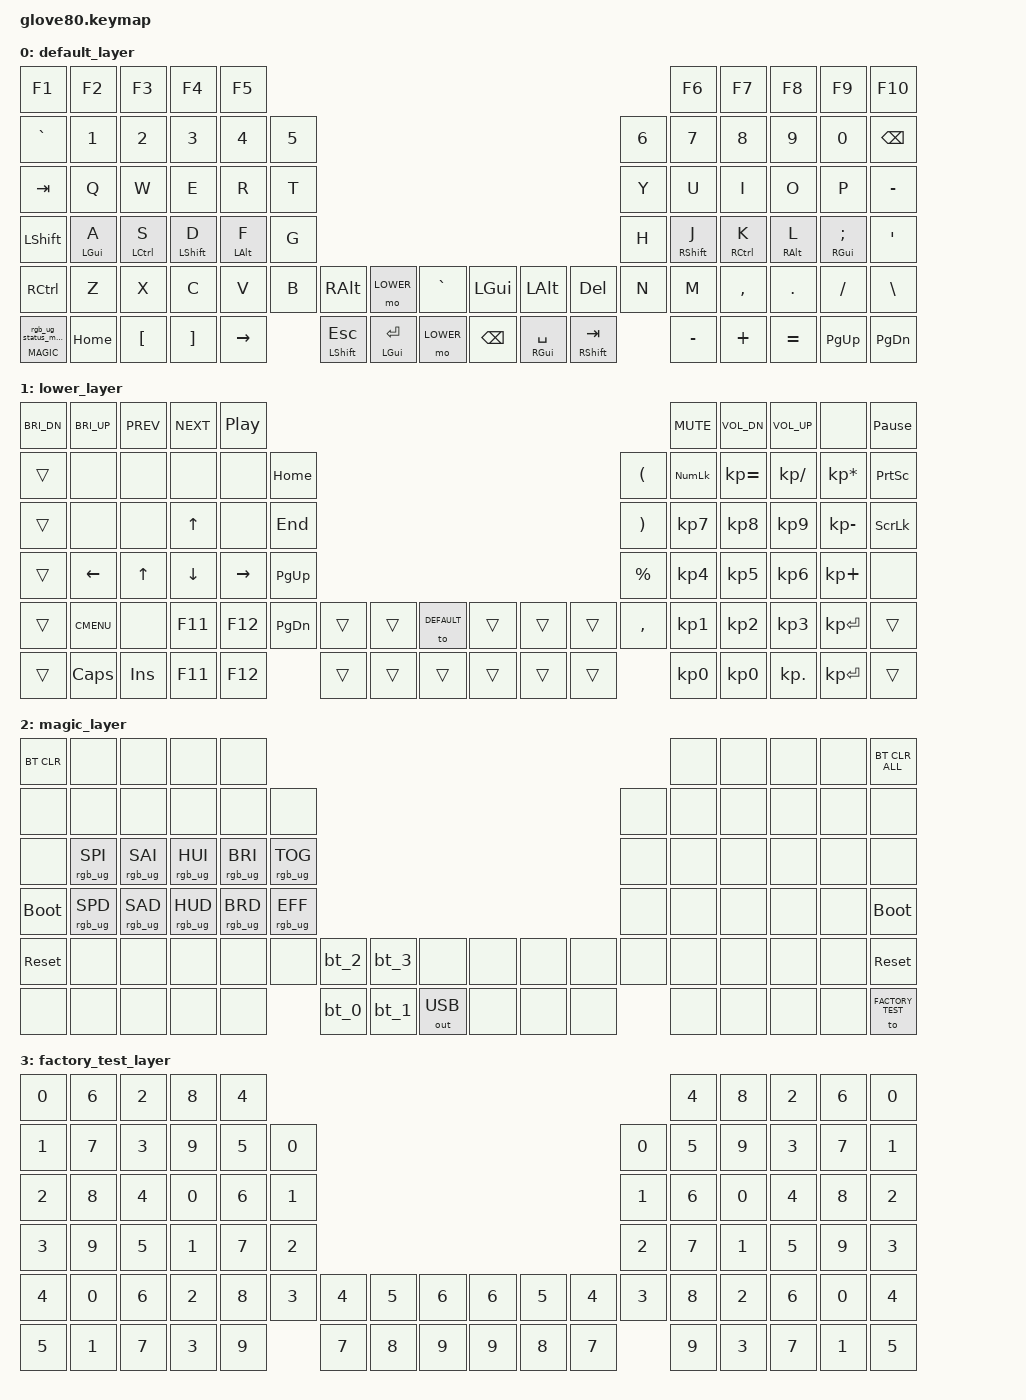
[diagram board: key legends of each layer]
/*
 * Copyright (c) 2020 The ZMK Contributors
 *
 * SPDX-License-Identifier: MIT
 */

#include <behaviors.dtsi>
#include <dt-bindings/zmk/keys.h>
#include <dt-bindings/zmk/bt.h>
#include <dt-bindings/zmk/ext_power.h>
#include <dt-bindings/zmk/outputs.h>
#include <dt-bindings/zmk/rgb.h>

#define HYPER LC(LS(LG(LALT)))

// layers
#define DEFAULT 0
#define LOWER 1
#define MAGIC 2
#define FACTORY_TEST 3

/ {
    behaviors {

        hrm: hrm_hold_tap {
            compatible = "zmk,behavior-hold-tap";
            label = "HRM";
            #binding-cells = <2>;
            flavor = "tap-preferred";
            tapping-term-ms = <250>;
            require-prior-idle-ms = <125>;
            bindings = <&kp>, <&kp>;
        };

        // For the "layer" key, it'd nice to be able to use it as either a shift or a toggle.
        // Configure it as a tap dance, so the first tap (or hold) is a &mo and the second tap is a &to
        layer_td: tap_dance_0 {
            compatible = "zmk,behavior-tap-dance";
            label = "LAYER_TAP_DANCE";
            #binding-cells = <0>;
            tapping-term-ms = <200>;
            bindings = <&mo LOWER>, <&to LOWER>;
        };

        magic: magic_hold_tap {
            compatible = "zmk,behavior-hold-tap";
            label = "MAGIC_HOLD_TAP";
            #binding-cells = <2>;
            flavor = "tap-preferred";
            tapping-term-ms = <200>;
            bindings = <&mo>, <&rgb_ug_status_macro>;
        };
    };

    macros {
        rgb_ug_status_macro: rgb_ug_status_macro_0 {
            label = "RGB_UG_STATUS";
            compatible = "zmk,behavior-macro";
            #binding-cells = <0>;
            bindings
                = <&rgb_ug RGB_STATUS>;
        };

        bt_0: bt_profile_macro_0 {
            label = "BT_0";
            compatible = "zmk,behavior-macro";
            #binding-cells = <0>;
            bindings
                = <&out OUT_BLE>,
                  <&bt BT_SEL 0>;
        };

        bt_1: bt_profile_macro_1 {
            label = "BT_1";
            compatible = "zmk,behavior-macro";
            #binding-cells = <0>;
            bindings
                = <&out OUT_BLE>,
                  <&bt BT_SEL 1>;
        };

        bt_2: bt_profile_macro_2 {
            label = "BT_2";
            compatible = "zmk,behavior-macro";
            #binding-cells = <0>;
            bindings
                = <&out OUT_BLE>,
                  <&bt BT_SEL 2>;
        };

        bt_3: bt_profile_macro_3 {
            label = "BT_3";
            compatible = "zmk,behavior-macro";
            #binding-cells = <0>;
            bindings
                = <&out OUT_BLE>,
                  <&bt BT_SEL 3>;
        };
    };

    keymap {
        compatible = "zmk,keymap";

        default_layer {
            // ---------------------------------------------------------------------------------------------------------------------------------
            // |  F1   |  F2   |  F3   |  F4   |  F5   |                                                               |  F6   |  F7   |  F8   |  F9   |  F10  |
            // |  `    |  1    |  2    |  3    |  4    |  5    |                                                 |  6   |   7   |   8   |  9    |   0   | BSPC  |
            // |  TAB  |  Q    |  W    |  E    |  R    |  T    |                                                 |  Y   |   U   |   I   |  O    |   P   |   -   |
            // | LSHFT | A/GUI | S/ALT | D/SFT | F/CTL |  G    |                                                 |  H   | J/CTL | K/SFT | L/ALT | ;/GUI |   '   |
            // | RCTRL |  Z    |  X    |  C    |  V    |  B    | RALT | LOWER |  `    | | LGUI  | LALT  |  DEL  |  N   |   M   |   ,   |  .    |   /   |   \   |
            // | MAGIC | HOME  |  [    |  ]    | RIGHT |       |ESC/SFT|GUI/RET| LOWER | | BSPC  |GUI/SPC|SFT/TAB|      |   -   |   +   |  =    |  PGUP | PGDN  |

            bindings = <
            &kp F1         &kp F2           &kp F3           &kp F4            &kp F5                                                                                                    &kp F6           &kp F7              &kp F8              &kp F9           &kp F10
            &kp GRAVE      &kp N1           &kp N2           &kp N3            &kp N4            &kp N5                                                                      &kp N6           &kp N7              &kp N8              &kp N9           &kp N0           &kp BACKSPACE
            &kp TAB        &kp Q            &kp W            &kp E             &kp R             &kp T                                                                       &kp Y            &kp U               &kp I               &kp O            &kp P            &kp MINUS
            &kp LSHFT      &hrm LGUI A      &hrm LCTRL S     &hrm LSHFT D      &hrm LALT F      &kp G                                                                       &kp H            &hrm RSHFT J        &hrm RCTRL K        &hrm RALT L      &hrm RGUI SEMICOLON  &kp SQT
            &kp RCTRL      &kp Z            &kp X            &kp C             &kp V             &kp B            &kp RALT        &mo LOWER        &kp GRAVE        &kp LGUI         &kp LALT         &kp DELETE          &kp N            &kp M               &kp COMMA           &kp DOT          &kp FSLH         &kp BSLH
            &magic MAGIC 0 &kp HOME         &kp LBKT         &kp RBKT          &kp RIGHT                          &mt LSHFT ESC    &mt LGUI ENTER   &mo LOWER        &kp BACKSPACE    &mt RGUI SPACE   &mt RSHFT TAB                        &kp MINUS           &kp PLUS            &kp EQUAL        &kp PAGE_UP      &kp PAGE_DOWN
            >;
        };

        lower_layer {
            bindings = <
            &kp C_BRI_DN      &kp C_BRI_UP        &kp C_PREV      &kp C_NEXT      &kp C_PP                                                                                                           &kp C_MUTE   &kp C_VOL_DN &kp C_VOL_UP  &none           &kp PAUSE_BREAK
            &trans            &none               &none           &none           &none           &kp HOME                                                                              &kp LPAR     &kp KP_NUM   &kp KP_EQUAL &kp KP_DIVIDE &kp KP_MULTIPLY &kp PSCRN
            &trans            &none               &none           &kp UP          &none           &kp END                                                                               &kp RPAR     &kp KP_N7    &kp KP_N8    &kp KP_N9     &kp KP_MINUS    &kp SLCK
            &trans            &kp LEFT               &kp UP        &kp DOWN        &kp RIGHT       &kp PG_UP                                                                             &kp PRCNT    &kp KP_N4    &kp KP_N5    &kp KP_N6     &kp KP_PLUS     &none
            &trans            &kp K_CMENU         &none           &kp F11         &kp F12         &kp PG_DN       &trans      &trans      &to DEFAULT &trans      &trans      &trans    &kp COMMA    &kp KP_N1    &kp KP_N2    &kp KP_N3     &kp KP_ENTER    &trans
            &trans            &kp CAPS            &kp INS         &kp F11         &kp F12                         &trans      &trans      &trans      &trans      &trans      &trans                 &kp KP_N0    &kp KP_N0    &kp KP_DOT    &kp KP_ENTER    &trans
            >;
        };

        magic_layer {
            bindings = <
            &bt BT_CLR        &none               &none           &none           &none                                                                                                           &none      &none      &none      &none      &bt BT_CLR_ALL
            &none             &none               &none           &none           &none           &none                                                                                &none      &none      &none      &none      &none      &none
            &none             &rgb_ug RGB_SPI     &rgb_ug RGB_SAI &rgb_ug RGB_HUI &rgb_ug RGB_BRI &rgb_ug RGB_TOG                                                                      &none      &none      &none      &none      &none      &none
            &bootloader       &rgb_ug RGB_SPD     &rgb_ug RGB_SAD &rgb_ug RGB_HUD &rgb_ug RGB_BRD &rgb_ug RGB_EFF                                                                      &none      &none      &none      &none      &none      &bootloader
            &sys_reset        &none               &none           &none           &none           &none           &bt_2     &bt_3     &none            &none     &none     &none       &none      &none      &none      &none      &none      &sys_reset
            &none             &none               &none           &none           &none                           &bt_0     &bt_1     &out OUT_USB     &none     &none     &none                  &none      &none      &none      &none      &to FACTORY_TEST
            >;
        };

        factory_test_layer {
            bindings = <
            &kp N0   &kp N6   &kp N2   &kp N8   &kp N4                                                                              &kp N4   &kp N8   &kp N2   &kp N6   &kp N0
            &kp N1   &kp N7   &kp N3   &kp N9   &kp N5   &kp N0                                                            &kp N0   &kp N5   &kp N9   &kp N3   &kp N7   &kp N1
            &kp N2   &kp N8   &kp N4   &kp N0   &kp N6   &kp N1                                                            &kp N1   &kp N6   &kp N0   &kp N4   &kp N8   &kp N2
            &kp N3   &kp N9   &kp N5   &kp N1   &kp N7   &kp N2                                                            &kp N2   &kp N7   &kp N1   &kp N5   &kp N9   &kp N3
            &kp N4   &kp N0   &kp N6   &kp N2   &kp N8   &kp N3   &kp N4   &kp N5   &kp N6      &kp N6   &kp N5   &kp N4   &kp N3   &kp N8   &kp N2   &kp N6   &kp N0   &kp N4
            &kp N5   &kp N1   &kp N7   &kp N3   &kp N9            &kp N7   &kp N8   &kp N9      &kp N9   &kp N8   &kp N7            &kp N9   &kp N3   &kp N7   &kp N1   &kp N5
            >;
        };
    };
};
